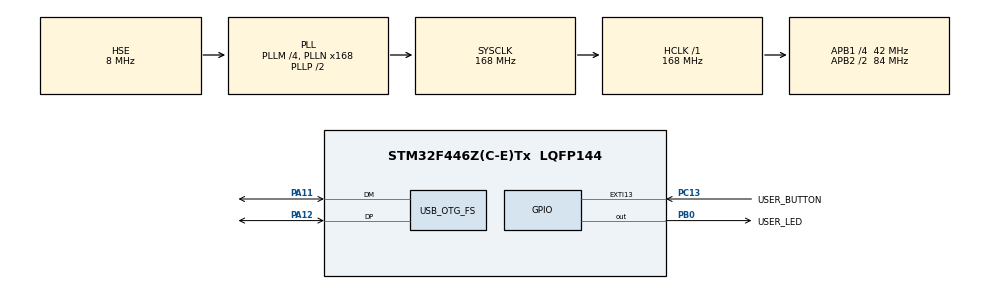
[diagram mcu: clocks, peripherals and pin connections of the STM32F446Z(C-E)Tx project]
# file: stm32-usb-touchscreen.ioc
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Mcu.Family=STM32F4
Mcu.Name=STM32F446Z(C-E)Tx
Mcu.Package=LQFP144
NVIC.OTG_FS_IRQn=true\:0\:0\:false\:false\:true\:false\:true\:true
NVIC.PriorityGroup=NVIC_PRIORITYGROUP_4
PA11.Mode=Device_Only
PA11.Signal=USB_OTG_FS_DM
PA12.Mode=Device_Only
PA12.Signal=USB_OTG_FS_DP
PA13.Mode=Serial_Wire
PA13.Signal=SYS_JTMS-SWDIO
PA14.Mode=Serial_Wire
PA14.Signal=SYS_JTCK-SWCLK
PB0.GPIO_Label=USER_LED
PB0.Signal=GPIO_Output
PC13.GPIO_Label=USER_BUTTON
PC13.Signal=GPXTI13
PH0-OSC_IN.Mode=HSE-External-Oscillator
PH0-OSC_IN.Signal=RCC_OSC_IN
PH1-OSC_OUT.Mode=HSE-External-Oscillator
PH1-OSC_OUT.Signal=RCC_OSC_OUT
ProjectManager.HeapSize=0x200
ProjectManager.StackSize=0x400
ProjectManager.TargetToolchain=STM32CubeIDE
RCC.48MHZClocksFreq_Value=24000000
RCC.AHBFreq_Value=168000000
RCC.APB1CLKDivider=RCC_HCLK_DIV4
RCC.APB1Freq_Value=42000000
RCC.APB1TimFreq_Value=84000000
RCC.APB2CLKDivider=RCC_HCLK_DIV2
RCC.APB2Freq_Value=84000000
RCC.APB2TimFreq_Value=168000000
RCC.CortexFreq_Value=168000000
RCC.HCLKFreq_Value=168000000
RCC.HSE_VALUE=8000000
RCC.HSI_VALUE=16000000
RCC.LSE_VALUE=32768
RCC.PLLM=4
RCC.PLLMUL=RCC_PLL_MUL9
RCC.PLLN=168
RCC.PLLQ=7
RCC.PLLSourceVirtual=RCC_PLLSOURCE_HSE
RCC.PRESCALERUSB=RCC_USBCLKSOURCE_PLL_DIV1_5
RCC.SYSCLKFreq_VALUE=168000000
RCC.SYSCLKSource=RCC_SYSCLKSOURCE_PLLCLK
RCC.SYSCLKSourceVirtual=RCC_SYSCLKSOURCE_PLLCLK
RCC.USBFreq_Value=48000000
RCC.VCOOutputFreq_Value=336000000
USB_DEVICE.CLASS_NAME_FS=CUSTOM_HID
USB_DEVICE.CUSTOM_HID_FS_BINTERVAL=5
USB_DEVICE.USBD_CUSTOMHID_OUTREPORT_BUF_SIZE-CUSTOM_HID_FS=2
USB_DEVICE.USBD_CUSTOM_HID_REPORT_DESC_SIZE-CUSTOM_HID_FS=190
USB_DEVICE.VirtualMode-CUSTOM_HID_FS=CustomHid
USB_DEVICE.VirtualModeFS=Custom_Hid_FS
USB_OTG_FS.VirtualMode=Device_Only
VP_USB_DEVICE_VS_USB_DEVICE_CUSTOM_HID_FS.Mode=CUSTOM_HID_FS
board=NUCLEO-F446ZE

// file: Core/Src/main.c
/* USER CODE BEGIN Header */
/**
  ******************************************************************************
  * @file           : main.c
  * @brief          : Main program body
  ******************************************************************************
  * @attention
  *
  * Copyright (c) 2024 STMicroelectronics.
  * All rights reserved.
  *
  * This software is licensed under terms that can be found in the LICENSE file
  * in the root directory of this software component.
  * If no LICENSE file comes with this software, it is provided AS-IS.
  *
  ******************************************************************************
  */
/* USER CODE END Header */
#include "main.h"
#include "usb_device.h"

void SystemClock_Config(void);
static void MX_GPIO_Init(void);

int main(void)
{

  /* MCU Configuration--------------------------------------------------------*/

  /* Reset of all peripherals, Initializes the Flash interface and the Systick. */
  HAL_Init();

  /* Configure the system clock */
  SystemClock_Config();

  /* Initialize all configured peripherals */
  MX_GPIO_Init();
  MX_USB_DEVICE_Init();
  touchscreen_init();
  /* USER CODE BEGIN 2 */
  int user_button_pressed = 0;
  /* USER CODE END 2 */
  /* Infinite loop */
  /* USER CODE BEGIN WHILE */
  while (1)
  {
			if (HAL_GPIO_ReadPin(USER_BUTTON_GPIO_Port, USER_BUTTON_Pin))
			{
				user_button_pressed = 1;
			}
			else if (user_button_pressed)
			{
				HAL_GPIO_WritePin(USER_LED_GPIO_Port, USER_LED_Pin, GPIO_PIN_SET);
				HAL_Delay(250);
				HAL_GPIO_WritePin(USER_LED_GPIO_Port, USER_LED_Pin, GPIO_PIN_RESET);
				user_button_pressed = 0;

				touchscreen_set(2, 700, 700);
				touchscreen_update(HAL_GetTick());
				HAL_Delay(700);
				touchscreen_reset(2);
				touchscreen_update2(HAL_GetTick());
				HAL_Delay(250);
			}

    /* USER CODE END WHILE */

  }
}

void SystemClock_Config(void)
{
  RCC_OscInitTypeDef RCC_OscInitStruct = {0};
  RCC_ClkInitTypeDef RCC_ClkInitStruct = {0};

  /** Configure the main internal regulator output voltage
  */
  __HAL_RCC_PWR_CLK_ENABLE();
  __HAL_PWR_VOLTAGESCALING_CONFIG(PWR_REGULATOR_VOLTAGE_SCALE1);

  /** Initializes the RCC Oscillators according to the specified parameters
  * in the RCC_OscInitTypeDef structure.
  */
  RCC_OscInitStruct.OscillatorType = RCC_OSCILLATORTYPE_HSE;
  RCC_OscInitStruct.HSEState = RCC_HSE_ON;
  RCC_OscInitStruct.PLL.PLLState = RCC_PLL_ON;
  RCC_OscInitStruct.PLL.PLLSource = RCC_PLLSOURCE_HSE;
  RCC_OscInitStruct.PLL.PLLM = 4;
  RCC_OscInitStruct.PLL.PLLN = 168;
  RCC_OscInitStruct.PLL.PLLP = RCC_PLLP_DIV2;
  RCC_OscInitStruct.PLL.PLLQ = 7;
  RCC_OscInitStruct.PLL.PLLR = 2;
  if (HAL_RCC_OscConfig(&RCC_OscInitStruct) != HAL_OK)
  {
    Error_Handler();
  }

  /** Initializes the CPU, AHB and APB buses clocks
  */
  RCC_ClkInitStruct.ClockType = RCC_CLOCKTYPE_HCLK|RCC_CLOCKTYPE_SYSCLK
                              |RCC_CLOCKTYPE_PCLK1|RCC_CLOCKTYPE_PCLK2;
  RCC_ClkInitStruct.SYSCLKSource = RCC_SYSCLKSOURCE_PLLCLK;
  RCC_ClkInitStruct.AHBCLKDivider = RCC_SYSCLK_DIV1;
  RCC_ClkInitStruct.APB1CLKDivider = RCC_HCLK_DIV4;
  RCC_ClkInitStruct.APB2CLKDivider = RCC_HCLK_DIV2;

  if (HAL_RCC_ClockConfig(&RCC_ClkInitStruct, FLASH_LATENCY_5) != HAL_OK)
  {
    Error_Handler();
  }
}

static void MX_GPIO_Init(void)
{
  GPIO_InitTypeDef GPIO_InitStruct = {0};

  /* GPIO Ports Clock Enable */
  __HAL_RCC_GPIOC_CLK_ENABLE();
  __HAL_RCC_GPIOH_CLK_ENABLE();
  __HAL_RCC_GPIOB_CLK_ENABLE();
  __HAL_RCC_GPIOA_CLK_ENABLE();

  /*Configure GPIO pin Output Level */
  HAL_GPIO_WritePin(USER_LED_GPIO_Port, USER_LED_Pin, GPIO_PIN_RESET);

  /*Configure GPIO pin : USER_BUTTON_Pin */
  GPIO_InitStruct.Pin = USER_BUTTON_Pin;
  GPIO_InitStruct.Mode = GPIO_MODE_IT_RISING;
  GPIO_InitStruct.Pull = GPIO_NOPULL;
  HAL_GPIO_Init(USER_BUTTON_GPIO_Port, &GPIO_InitStruct);

  /*Configure GPIO pin : USER_LED_Pin */
  GPIO_InitStruct.Pin = USER_LED_Pin;
  GPIO_InitStruct.Mode = GPIO_MODE_OUTPUT_PP;
  GPIO_InitStruct.Pull = GPIO_NOPULL;
  GPIO_InitStruct.Speed = GPIO_SPEED_FREQ_LOW;
  HAL_GPIO_Init(USER_LED_GPIO_Port, &GPIO_InitStruct);

}

/* USER CODE BEGIN 4 */
void move(void)
{
	int x_0 = 860;
	int y_0 = 540;
	int x_1 = 960;
	int y_1 = 540;
	int dx_0 = 0;
	int dy_0 = 1;
	int dx_1 = 0;
	int dy_1 = 1;

	int dt = 5;
	int max = 100;

	for (int i = 0; i < max; i++)
	{
		touchscreen_set(0, x_0 + dx_0*i, y_0 + dy_0*i);
		touchscreen_set(1, x_1 + dx_1*i, y_1 + dy_1*i);
		touchscreen_update(HAL_GetTick());
		HAL_Delay(dt);
	}
	touchscreen_reset(0);
	touchscreen_reset(1);
	touchscreen_update(HAL_GetTick());
}

void tap(void)
{
	for (int i = 0; i < 5; i++)
	{
		touchscreen_set(i, 600 + 50*i, 900);
		touchscreen_update(HAL_GetTick());
		HAL_Delay(200);
	}
	for (int i = 4; i > -1; i--)
	{
		touchscreen_reset(i);
		touchscreen_update(HAL_GetTick());
		HAL_Delay(200);
	}
}
/* USER CODE END 4 */

void Error_Handler(void)
{
  __disable_irq();
  while (1)
  {
  }
}
